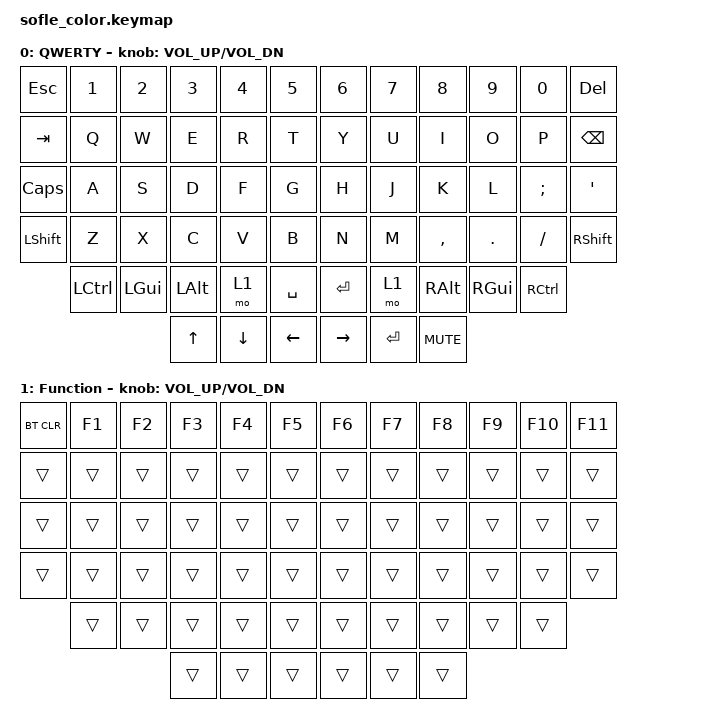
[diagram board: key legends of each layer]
#include <behaviors.dtsi>
#include <dt-bindings/zmk/keys.h>
#include <dt-bindings/zmk/bt.h>
/ {
    keymap {
        compatible = "zmk,keymap";
        default_layer {
            display-name = "QWERTY";
            bindings = <
            &kp ESC &kp N1 &kp N2 &kp N3 &kp N4 &kp N5 &kp N6 &kp N7 &kp N8 &kp N9 &kp N0 &kp DEL
            &kp TAB &kp Q &kp W &kp E &kp R &kp T &kp Y &kp U &kp I &kp O &kp P &kp BSPC
            &kp CAPS &kp A &kp S &kp D &kp F &kp G &kp H &kp J &kp K &kp L &kp SEMI &kp SQT
            &kp LSHFT &kp Z &kp X &kp C &kp V &kp B &kp N &kp M &kp COMMA &kp DOT &kp FSLH &kp RSHFT
            &kp LCTRL &kp LGUI &kp LALT &mo 1 &kp SPACE &kp RET &mo 1 &kp RALT &kp RGUI &kp RCTRL
            &kp UP &kp DOWN &kp LEFT &kp RIGHT &kp RET &kp C_MUTE
            >;
            sensor-bindings = <&inc_dec_kp C_VOL_UP C_VOL_DN>;
        };
        function_layer {
            display-name = "Function";
            bindings = <
            &bt BT_CLR &kp F1 &kp F2 &kp F3 &kp F4 &kp F5 &kp F6 &kp F7 &kp F8 &kp F9 &kp F10 &kp F11
            &trans &trans &trans &trans &trans &trans &trans &trans &trans &trans &trans &trans
            &trans &trans &trans &trans &trans &trans &trans &trans &trans &trans &trans &trans
            &trans &trans &trans &trans &trans &trans &trans &trans &trans &trans &trans &trans
            &trans &trans &trans &trans &trans &trans &trans &trans &trans &trans &trans &trans
            &trans &trans &trans &trans
            >;
            sensor-bindings = <&inc_dec_kp C_VOL_UP C_VOL_DN>;
        };
    };
};
